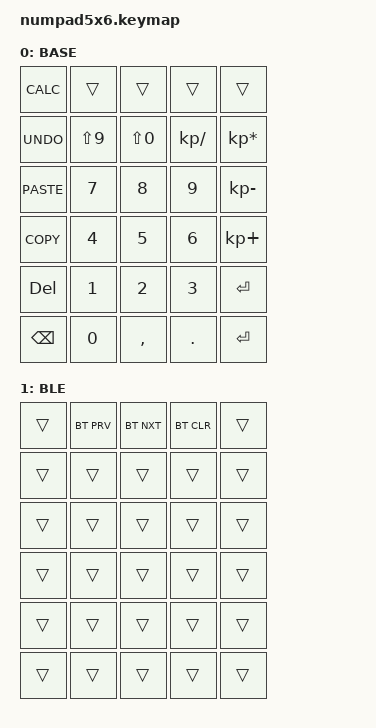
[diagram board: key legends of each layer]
/* SPDX-License-Identifier: MIT */

#include <behaviors.dtsi>
#include <dt-bindings/zmk/keys.h>
#include <dt-bindings/zmk/bt.h>

 / {
    keymap {
        compatible = "zmk,keymap";

        /* 5 columns x 6 rows = 30 bindings per layer */
        default_layer {
            display-name = "BASE";
            bindings = <
                /* R0 */ &kp K_CALC   &trans    &trans        &trans        &trans
                /* R1 */ &kp K_UNDO   &kp LS(N9)    &kp LS(N0)        &kp KP_SLASH  &kp KP_ASTERISK 
                /* R2 */ &kp K_PASTE   &kp N7    &kp N8        &kp N9  &kp KP_MINUS
                /* R3 */ &kp K_COPY   &kp N4    &kp N5       &kp N6   &kp KP_PLUS
                /* R4 */ &kp DEL  &kp N1 &kp N2       &kp N3     &kp ENTER
                /* R5 */ &kp BSPC &kp N0   &kp COMMA      &kp DOT      &kp ENTER
            >;
        };

        ble_layer {
            display-name = "BLE";
            bindings = <
                /* R0 */ &trans         &bt BT_PRV &bt BT_NXT &bt BT_CLR &trans
                /* R1 */ &trans         &trans     &trans     &trans     &trans
                /* R2 */ &trans         &trans     &trans     &trans     &trans
                /* R3 */ &trans         &trans     &trans     &trans     &trans
                /* R4 */ &trans         &trans     &trans     &trans     &trans
                /* R5 */ &trans         &trans     &trans     &trans     &trans
            >;
        };
    };
};
